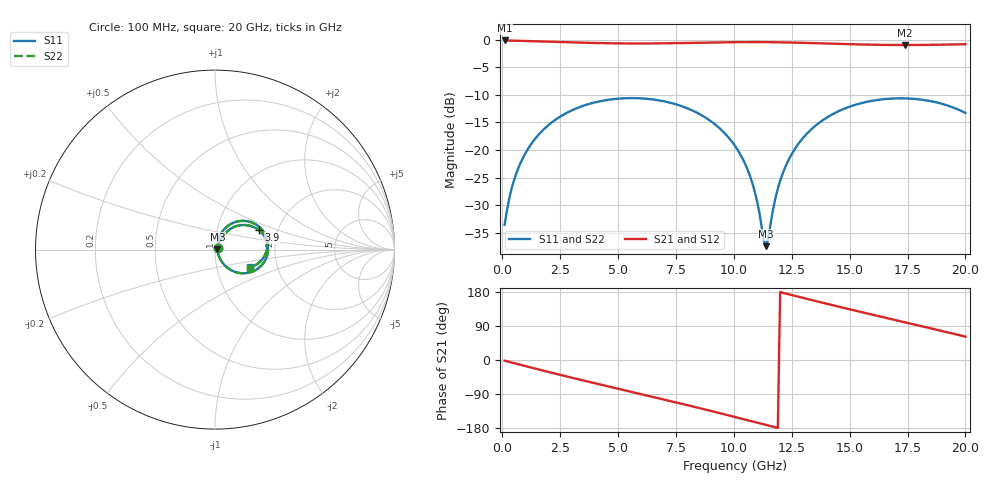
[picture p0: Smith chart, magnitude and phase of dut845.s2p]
! Touchstone file exported from HFSS 2026.1.0
!  File:  C:/ffzhzh/LocalFiles/Ansys_Project_Files/temp_train_TSV_RDL_845_1783268866_30076.aedt
!  Generated:  12:37:31 AM Jul  6, 2026
!  Design:  TSV_RDL
!  Project:  temp_train_TSV_RDL_845_1783268866_30076
! Variables:
!  h_bsmrdl = 2.59um
!  h_ox = 20um
!  h_rdl = 5um
!  h_sub = 70.78um
!  h_tmrdl = 5.71um
!  h_tsv = 70.78um
!  h_via = 3um
!  l_bsmrdl = 637.73um
!  l_sub = 5088.11um
!  l_tmrdl = 656.02um
!  m_sub = 200um
!  pitch = 40.2um
!  r_tsv = 13.66um
!  s_tmrdl = 10um
!  w_bsmrdl = 26.78um
!  w_sub = 500um
!  w_tmrdl = 23.5um
!  x_tsv_center1 = 667.77um
!  x_tsv_center2 = 1332.28um
!  x_tsv_center3 = 2011.8um
!  x_tsv_center4 = 2676.31um
!  x_tsv_center5 = 3355.83um
!  x_tsv_center6 = 4020.34um
# GHz S MA R 50.000000
! Terminal data exported
! Port[1] = TM_RDL1_1_T1
! Port[2] = TM_RDL5_1_T1
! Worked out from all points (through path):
!   200 points, 100 MHz to 20 GHz, reference 50 ohm
!   highest |S21| = -0.16 dB at 100 MHz (marker M1); lowest = -1.0 dB at 17.4 GHz (marker M2)
!   group delay of S21, straight-line fit = 41.4 ps
!   lowest |S11| = -37.4 dB at 11.4 GHz (marker M3), VSWR 1.03, Z = 51.3 + j0.258 ohm
!   |S11| at or under -10 dB: start of sweep to end of sweep
!   |S22| runs from -37.4 to -10.6 dB; largest |S21 - S12| = 5.9e-14
!   S11 on the Smith chart (normalised r, x): 100 MHz: 1.04, +0.02; 3.9 GHz: 1.59, +0.37; 20 GHz: 1.44, -0.30
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0.1  0.02099 30.1  0.9821 -1.7  0.9821 -1.7  0.02099 30.1
! Gamma 0 0 0 0
! Port Impedance 50 0 50 0
0.5  0.05287 57.3  0.9769 -8.2  0.9769 -8.2  0.05287 57.3
1.2  0.1096 57.5  0.9689 -19.2  0.9689 -19.2  0.1096 57.5
2.2  0.1821 46.7  0.9552 -34.7  0.9552 -34.7  0.1821 46.7
3.5  0.2518 29.5  0.937 -54.1  0.937 -54.1  0.2519 29.5
3.9  0.2669 24.1  0.9323 -59.9  0.9323 -59.9  0.2669 24.1
5.4  0.2951 3.9  0.9221 -81.5  0.9221 -81.5  0.2951 3.9
6.8  0.281 -15.0  0.9241 -101.7  0.9241 -101.7  0.281 -15.0
8.7  0.2013 -40.9  0.9387 -129.7  0.9387 -129.7  0.2014 -40.9
10.1  0.1052 -58.1  0.9482 -151.2  0.9482 -151.2  0.1053 -58.1
10.8  0.05018 -60.5  0.9496 -162.1  0.9496 -162.1  0.05025 -60.4
11  0.03458 -56.2  0.9495 -165.2  0.9495 -165.2  0.03465 -56.1
11.3  0.01512 -21.0  0.9488 -169.9  0.9488 -169.9  0.0152 -21.0
11.4  0.01349 10.7  0.9484 -171.5  0.9484 -171.5  0.01356 10.5
11.8  0.03705 67.6  0.9463 -177.7  0.9463 -177.7  0.03703 67.5
12.1  0.06057 71.5  0.9441 177.6  0.9441 177.6  0.06055 71.4
12.7  0.1073 68.2  0.9383 168.3  0.9383 168.3  0.1072 68.1
13.4  0.1578 60.2  0.9297 157.6  0.9297 157.6  0.1578 60.1
14.9  0.2427 40.4  0.9097 135.3  0.9097 135.3  0.2427 40.4
16.7  0.2915 16.4  0.8943 109.4  0.8943 109.4  0.2916 16.3
17.4  0.2936 7.1  0.8929 99.4  0.8929 99.4  0.2937 7.0
20  0.2167 -27.2  0.9084 61.7  0.9084 61.7  0.2168 -27.4
